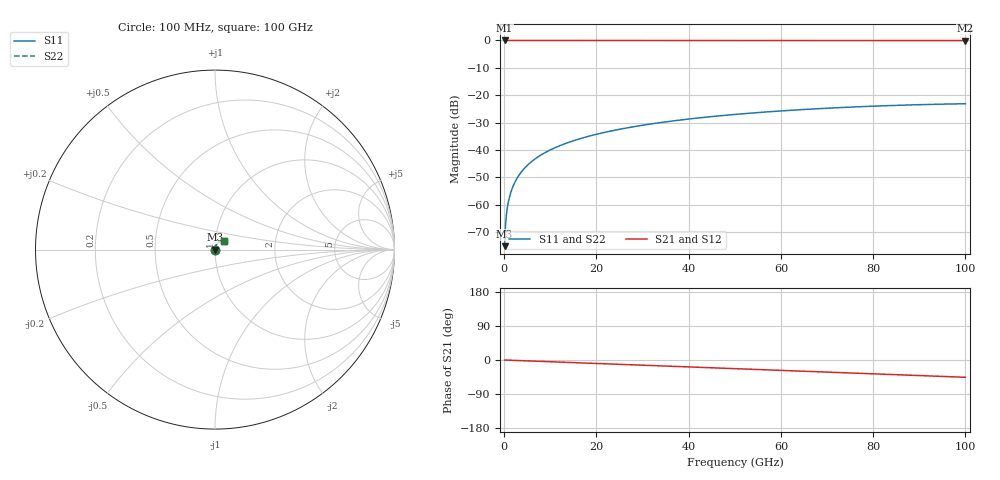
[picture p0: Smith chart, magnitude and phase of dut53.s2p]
! Touchstone file exported from HFSS 2026.1.0
!  File:  C:/ffzhzh/LocalFiles/Ansys_Project_Files/temp_train_TSV_53_1783504965_41296.aedt
!  Generated:  06:03:58 PM Jul  8, 2026
!  Design:  TSV
!  Project:  temp_train_TSV_53_1783504965_41296
! Variables:
!  h_bsmrdl = 2um
!  h_ox = 20um
!  h_rdl = 5um
!  h_sub = 89.37um
!  h_tmrdl = 5um
!  h_tsv = 89.37um
!  h_via = 3um
!  l_bsmrdl = 300um
!  l_sub = 423.72um
!  l_tmrdl = 200um
!  m_sub = 200um
!  pitch = 54.73um
!  r_tsv = 11.86um
!  s_tmrdl = 10um
!  w_bsmrdl = 18um
!  w_sub = 500um
!  w_tmrdl = 12um
!  x_tsv_center1 = 206um
!  x_tsv_center2 = 524um
!  x_tsv_center3 = 736um
!  x_tsv_center4 = 1054um
!  x_tsv_center5 = 1266um
!  x_tsv_center6 = 1584um
# GHz S MA R 50.000000
! Terminal data exported
! Port[1] = TSV1_1_T1
! Port[2] = TSV1_1_T2
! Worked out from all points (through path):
!   1000 points, 100 MHz to 100 GHz, reference 50 ohm
!   highest |S21| = 0.00 dB at 100 MHz (marker M1); lowest = 0.0 dB at 100 GHz (marker M2)
!   group delay of S21, straight-line fit = 1.27 ps
!   lowest |S11| = -75.1 dB at 100 MHz (marker M3), VSWR 1.00, Z = 50 + j0.0141 ohm
!   |S11| at or under -10 dB: start of sweep to end of sweep
!   |S22| runs from -75.1 to -23.1 dB; largest |S21 - S12| = 4.7e-15
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0.1  0.0001762 53.4  0.9999 -0.0  0.9999 -0.0  0.0001762 53.4
! Gamma 0 0 0 0
! Port Impedance 50 0 50 0
0.3  0.0004324 71.1  0.9999 -0.1  0.9999 -0.1  0.0004324 71.1
0.7  0.0009003 75.2  0.9998 -0.3  0.9998 -0.3  0.0009003 75.2
0.8  0.001008 75.7  0.9998 -0.4  0.9998 -0.4  0.001008 75.7
1  0.00122 76.6  0.9997 -0.5  0.9997 -0.5  0.00122 76.6
1.3  0.001532 77.8  0.9997 -0.6  0.9997 -0.6  0.001532 77.8
1.8  0.002048 79.0  0.9996 -0.8  0.9996 -0.8  0.002048 79.0
2.3  0.002557 79.8  0.9996 -1.1  0.9996 -1.1  0.002557 79.8
3  0.003262 80.4  0.9995 -1.4  0.9995 -1.4  0.003262 80.4
3.8  0.004056 80.8  0.9995 -1.8  0.9995 -1.8  0.004056 80.8
4.8  0.005037 81.0  0.9994 -2.2  0.9994 -2.2  0.005037 81.0
6  0.006204 81.1  0.9993 -2.8  0.9993 -2.8  0.006204 81.1
8.8  0.008903 80.8  0.9992 -4.0  0.9992 -4.0  0.008903 80.8
12.4  0.01233 79.8  0.999 -5.7  0.999 -5.7  0.01233 79.8
16.8  0.01644 78.4  0.9987 -7.7  0.9987 -7.7  0.01644 78.4
24.2  0.0232 75.6  0.9984 -11.0  0.9984 -11.0  0.0232 75.7
33.4  0.03129 71.9  0.9979 -15.2  0.9979 -15.2  0.03129 71.9
41.2  0.0378 68.6  0.9975 -18.8  0.9975 -18.8  0.0378 68.6
50.1  0.04474 64.8  0.997 -22.8  0.997 -22.8  0.04474 64.8
66.7  0.05604 57.5  0.9962 -30.4  0.9962 -30.4  0.05604 57.6
83.4  0.06474 50.1  0.9953 -38.0  0.9953 -38.0  0.06474 50.1
100  0.06999 42.7  0.9945 -45.6  0.9945 -45.6  0.06999 42.8
